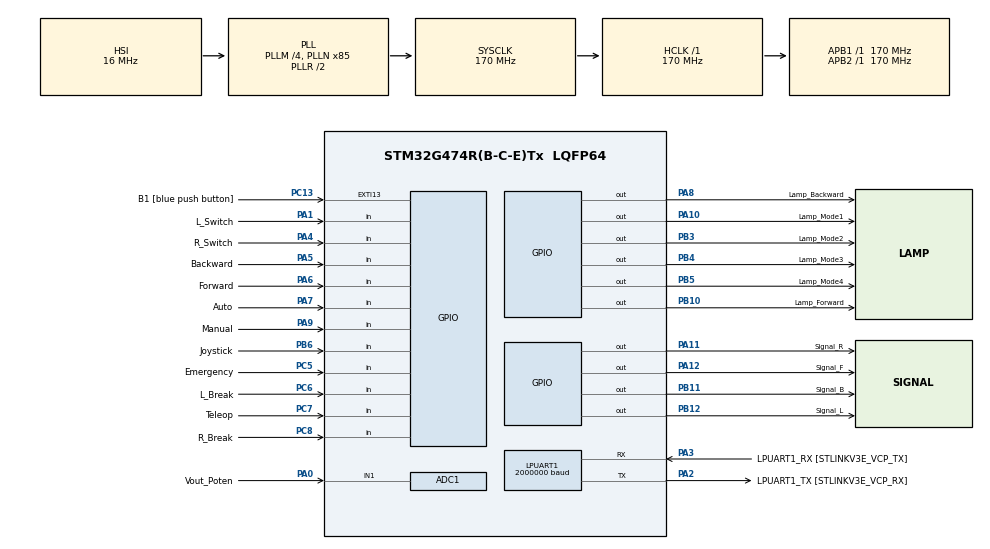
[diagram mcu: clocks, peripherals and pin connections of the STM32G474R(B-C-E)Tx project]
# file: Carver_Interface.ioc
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ADC1.Channel-0\#ChannelRegularConversion=ADC_CHANNEL_1
ADC1.ContinuousConvMode=DISABLE
ADC1.DMAContinuousRequests=ENABLE
ADC1.ExternalTrigConv=ADC_EXTERNALTRIG_T2_TRGO
ADC1.NbrOfConversion=1
ADC1.NbrOfConversionFlag=1
ADC1.OffsetNumber-0\#ChannelRegularConversion=ADC_OFFSET_NONE
ADC1.Rank-0\#ChannelRegularConversion=1
ADC1.SamplingTime-0\#ChannelRegularConversion=ADC_SAMPLETIME_640CYCLES_5
ADC1.master=1
Dma.ADC1.2.Direction=DMA_PERIPH_TO_MEMORY
Dma.ADC1.2.EventEnable=DISABLE
Dma.ADC1.2.Instance=DMA1_Channel3
Dma.ADC1.2.MemDataAlignment=DMA_MDATAALIGN_HALFWORD
Dma.ADC1.2.MemInc=DMA_MINC_ENABLE
Dma.ADC1.2.Mode=DMA_CIRCULAR
Dma.ADC1.2.PeriphDataAlignment=DMA_PDATAALIGN_HALFWORD
Dma.ADC1.2.PeriphInc=DMA_PINC_DISABLE
Dma.ADC1.2.Polarity=HAL_DMAMUX_REQ_GEN_RISING
Dma.ADC1.2.Priority=DMA_PRIORITY_LOW
Dma.ADC1.2.RequestNumber=1
Dma.ADC1.2.SignalID=NONE
Dma.ADC1.2.SyncEnable=DISABLE
Dma.ADC1.2.SyncPolarity=HAL_DMAMUX_SYNC_NO_EVENT
Dma.ADC1.2.SyncRequestNumber=1
Dma.ADC1.2.SyncSignalID=NONE
Dma.LPUART1_RX.1.Direction=DMA_PERIPH_TO_MEMORY
Dma.LPUART1_RX.1.EventEnable=DISABLE
Dma.LPUART1_RX.1.Instance=DMA1_Channel2
Dma.LPUART1_RX.1.MemDataAlignment=DMA_MDATAALIGN_BYTE
Dma.LPUART1_RX.1.MemInc=DMA_MINC_ENABLE
Dma.LPUART1_RX.1.Mode=DMA_CIRCULAR
Dma.LPUART1_RX.1.PeriphDataAlignment=DMA_PDATAALIGN_BYTE
Dma.LPUART1_RX.1.PeriphInc=DMA_PINC_DISABLE
Dma.LPUART1_RX.1.Polarity=HAL_DMAMUX_REQ_GEN_RISING
Dma.LPUART1_RX.1.Priority=DMA_PRIORITY_VERY_HIGH
Dma.LPUART1_RX.1.RequestNumber=1
Dma.LPUART1_RX.1.SignalID=NONE
Dma.LPUART1_RX.1.SyncEnable=DISABLE
Dma.LPUART1_RX.1.SyncPolarity=HAL_DMAMUX_SYNC_NO_EVENT
Dma.LPUART1_RX.1.SyncRequestNumber=1
Dma.LPUART1_RX.1.SyncSignalID=NONE
Dma.LPUART1_TX.0.Direction=DMA_MEMORY_TO_PERIPH
Dma.LPUART1_TX.0.EventEnable=DISABLE
Dma.LPUART1_TX.0.Instance=DMA1_Channel1
Dma.LPUART1_TX.0.MemDataAlignment=DMA_MDATAALIGN_BYTE
Dma.LPUART1_TX.0.MemInc=DMA_MINC_ENABLE
Dma.LPUART1_TX.0.Mode=DMA_NORMAL
Dma.LPUART1_TX.0.PeriphDataAlignment=DMA_PDATAALIGN_BYTE
Dma.LPUART1_TX.0.PeriphInc=DMA_PINC_DISABLE
Dma.LPUART1_TX.0.Polarity=HAL_DMAMUX_REQ_GEN_RISING
Dma.LPUART1_TX.0.Priority=DMA_PRIORITY_VERY_HIGH
Dma.LPUART1_TX.0.RequestNumber=1
Dma.LPUART1_TX.0.SignalID=NONE
Dma.LPUART1_TX.0.SyncEnable=DISABLE
Dma.LPUART1_TX.0.SyncPolarity=HAL_DMAMUX_SYNC_NO_EVENT
Dma.LPUART1_TX.0.SyncRequestNumber=1
Dma.LPUART1_TX.0.SyncSignalID=NONE
Dma.Request0=LPUART1_TX
Dma.Request1=LPUART1_RX
Dma.Request2=ADC1
FREERTOS.Tasks01=defaultTask,40,5000,StartDefaultTask,Default,NULL,Static,defaultTaskBuffer,defaultTaskControlBlock
IWDG.Reload=2499
LPUART1.BaudRate=2000000
Mcu.Family=STM32G4
Mcu.Name=STM32G474R(B-C-E)Tx
Mcu.Package=LQFP64
NVIC.ADC1_2_IRQn=true\:5\:0\:false\:false\:true\:true\:true\:true\:true
NVIC.DMA1_Channel1_IRQn=true\:5\:0\:false\:false\:true\:true\:false\:true\:true
NVIC.DMA1_Channel2_IRQn=true\:5\:0\:false\:false\:true\:true\:false\:true\:true
NVIC.DMA1_Channel3_IRQn=true\:5\:0\:false\:false\:true\:true\:false\:true\:true
NVIC.EXTI15_10_IRQn=true\:5\:0\:false\:false\:true\:true\:true\:true\:true
NVIC.LPUART1_IRQn=true\:5\:0\:false\:false\:true\:true\:true\:true\:true
NVIC.PriorityGroup=NVIC_PRIORITYGROUP_4
NVIC.TIM1_UP_TIM16_IRQn=true\:15\:0\:false\:false\:true\:false\:false\:true\:true
NVIC.TIM2_IRQn=true\:5\:0\:false\:false\:true\:true\:true\:true\:true
NVIC.TimeBase=TIM1_UP_TIM16_IRQn
NVIC.TimeBaseIP=TIM1
PA0.GPIO_Label=Vout_Poten
PA0.Mode=IN1-Single-Ended
PA0.Signal=ADC1_IN1
PA1.GPIO_Label=L_Switch
PA1.GPIO_PuPd=GPIO_PULLUP
PA1.Signal=GPIO_Input
PA10.GPIO_Label=Lamp_Mode1
PA10.GPIO_PuPd=GPIO_PULLDOWN
PA10.PinState=GPIO_PIN_SET
PA10.Signal=GPIO_Output
PA11.GPIO_Label=Signal_R
PA11.GPIO_ModeDefaultOutputPP=GPIO_MODE_OUTPUT_PP
PA11.GPIO_PuPd=GPIO_PULLDOWN
PA11.PinState=GPIO_PIN_SET
PA11.Signal=GPIO_Output
PA12.GPIO_Label=Signal_F
PA12.GPIO_PuPd=GPIO_PULLDOWN
PA12.PinState=GPIO_PIN_SET
PA12.Signal=GPIO_Output
PA13.GPIO_Label=T_SWDIO
PA13.Signal=SYS_JTMS-SWDIO
PA14.GPIO_Label=T_SWCLK
PA14.Signal=SYS_JTCK-SWCLK
PA2.GPIO_Label=LPUART1_TX [STLINKV3E_VCP_RX]
PA2.Mode=Asynchronous
PA2.Signal=LPUART1_TX
PA3.GPIO_Label=LPUART1_RX [STLINKV3E_VCP_TX]
PA3.Mode=Asynchronous
PA3.Signal=LPUART1_RX
PA4.GPIO_Label=R_Switch
PA4.GPIO_PuPd=GPIO_PULLUP
PA4.Signal=GPIO_Input
PA5.GPIO_Label=Backward
PA5.GPIO_PuPd=GPIO_PULLDOWN
PA5.Signal=GPIO_Input
PA6.GPIO_Label=Forward
PA6.GPIO_PuPd=GPIO_PULLDOWN
PA6.Signal=GPIO_Input
PA7.GPIO_Label=Auto
PA7.GPIO_PuPd=GPIO_PULLDOWN
PA7.Signal=GPIO_Input
PA8.GPIO_Label=Lamp_Backward
PA8.GPIO_PuPd=GPIO_PULLDOWN
PA8.Signal=GPIO_Output
PA9.GPIO_Label=Manual
PA9.GPIO_PuPd=GPIO_PULLDOWN
PA9.Signal=GPIO_Input
PB10.GPIO_Label=Lamp_Forward
PB10.GPIO_PuPd=GPIO_PULLDOWN
PB10.Signal=GPIO_Output
PB11.GPIO_Label=Signal_B
PB11.GPIO_PuPd=GPIO_PULLDOWN
PB11.PinState=GPIO_PIN_SET
PB11.Signal=GPIO_Output
PB12.GPIO_Label=Signal_L
PB12.GPIO_PuPd=GPIO_PULLDOWN
PB12.PinState=GPIO_PIN_SET
PB12.Signal=GPIO_Output
PB3.GPIO_Label=Lamp_Mode2
PB3.GPIO_ModeDefaultOutputPP=GPIO_MODE_OUTPUT_PP
PB3.GPIO_PuPd=GPIO_PULLDOWN
PB3.PinState=GPIO_PIN_SET
PB3.Signal=GPIO_Output
PB4.GPIO_Label=Lamp_Mode3
PB4.GPIO_PuPd=GPIO_PULLDOWN
PB4.Signal=GPIO_Output
PB5.GPIO_Label=Lamp_Mode4
PB5.GPIO_PuPd=GPIO_PULLDOWN
PB5.PinState=GPIO_PIN_SET
PB5.Signal=GPIO_Output
PB6.GPIO_Label=Joystick
PB6.GPIO_PuPd=GPIO_PULLDOWN
PB6.Signal=GPIO_Input
PC13.GPIO_Label=B1 [blue push button]
PC13.Signal=GPXTI13
PC14-OSC32_IN.GPIO_Label=RCC_OSC32_IN
PC14-OSC32_IN.Mode=LSE-External-Oscillator
PC14-OSC32_IN.Signal=RCC_OSC32_IN
PC15-OSC32_OUT.Mode=LSE-External-Oscillator
PC15-OSC32_OUT.Signal=RCC_OSC32_OUT
PC5.GPIO_Label=Emergency
PC5.Signal=GPIO_Input
PC6.GPIO_Label=L_Break
PC6.GPIO_PuPd=GPIO_PULLUP
PC6.Signal=GPIO_Input
PC7.GPIO_Label=Teleop
PC7.GPIO_PuPd=GPIO_PULLDOWN
PC7.Signal=GPIO_Input
PC8.GPIO_Label=R_Break
PC8.GPIO_PuPd=GPIO_PULLUP
PC8.Signal=GPIO_Input
PF0-OSC_IN.Mode=HSE-External-Oscillator
PF0-OSC_IN.Signal=RCC_OSC_IN
PF1-OSC_OUT.GPIO_Label=RCC_OSC_OUT
PF1-OSC_OUT.Mode=HSE-External-Oscillator
PF1-OSC_OUT.Signal=RCC_OSC_OUT
ProjectManager.HeapSize=0x200
ProjectManager.StackSize=0x400
ProjectManager.TargetToolchain=STM32CubeIDE
RCC.ADC12Freq_Value=170000000
RCC.ADC345Freq_Value=170000000
RCC.AHBFreq_Value=170000000
RCC.APB1Freq_Value=170000000
RCC.APB1TimFreq_Value=170000000
RCC.APB2Freq_Value=170000000
RCC.APB2TimFreq_Value=170000000
RCC.CortexFreq_Value=170000000
RCC.EXTERNAL_CLOCK_VALUE=12288000
RCC.HCLKFreq_Value=170000000
RCC.HSE_VALUE=24000000
RCC.HSI48_VALUE=48000000
RCC.HSI_VALUE=16000000
RCC.PLLM=RCC_PLLM_DIV4
RCC.PLLN=85
RCC.RTCClockSelection=RCC_RTCCLKSOURCE_LSE
RCC.SYSCLKFreq_VALUE=170000000
RCC.SYSCLKSource=RCC_SYSCLKSOURCE_PLLCLK
RCC.USBFreq_Value=170000000
RCC.VCOOutputFreq_Value=340000000
TIM2.PeriodNoDither=999
TIM2.Prescaler=169
TIM2.TIM_MasterOutputTrigger=TIM_TRGO_UPDATE
VP_FREERTOS_VS_CMSIS_V2.Mode=CMSIS_V2
VP_IWDG_VS_IWDG.Mode=IWDG_Activate
VP_SYS_VS_DBSignals.Mode=DisableDeadBatterySignals
VP_SYS_VS_tim1.Mode=TIM1
VP_TIM2_VS_ClockSourceINT.Mode=Internal
board=NUCLEO-G474RE

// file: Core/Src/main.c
/* USER CODE BEGIN Header */
/**
  ******************************************************************************
  * @file           : main.c
  * @brief          : Main program body
  ******************************************************************************
  * @attention
  *
  * Copyright (c) 2024 STMicroelectronics.
  * All rights reserved.
  *
  * This software is licensed under terms that can be found in the LICENSE file
  * in the root directory of this software component.
  * If no LICENSE file comes with this software, it is provided AS-IS.
  *
  ******************************************************************************
  */
/* USER CODE END Header */
#include "main.h"
#include "cmsis_os.h"
#include "adc.h"
#include "dma.h"
#include "iwdg.h"
#include "usart.h"
#include "tim.h"
#include "gpio.h"

/* USER CODE BEGIN PV */
//uint8_t pinState = 0;
//uint8_t pinState1 = 0;
//uint8_t pinState2 = 0;
//uint8_t pinState3 = 0;
//uint8_t pinState4 = 0;
uint8_t test = 0;
/* USER CODE END PV */

void SystemClock_Config(void);
void MX_FREERTOS_Init(void);

int main(void)
{

  /* MCU Configuration--------------------------------------------------------*/

  /* Reset of all peripherals, Initializes the Flash interface and the Systick. */
  HAL_Init();

  /* Configure the system clock */
  SystemClock_Config();

  /* Initialize all configured peripherals */
  MX_GPIO_Init();
  MX_DMA_Init();
  MX_LPUART1_UART_Init();
  MX_ADC1_Init();
  MX_IWDG_Init();
  MX_TIM2_Init();
  /* USER CODE BEGIN 2 */

  HAL_TIM_Base_Start_IT(&htim2);
  /* USER CODE END 2 */

  /* Init scheduler */
  osKernelInitialize();

  /* Call init function for freertos objects (in cmsis_os2.c) */
  MX_FREERTOS_Init();

  /* Start scheduler */
  osKernelStart();

  /* We should never get here as control is now taken by the scheduler */

  /* Infinite loop */
  while (1)
  {

  }
}

void SystemClock_Config(void)
{
  RCC_OscInitTypeDef RCC_OscInitStruct = {0};
  RCC_ClkInitTypeDef RCC_ClkInitStruct = {0};

  /** Configure the main internal regulator output voltage
  */
  HAL_PWREx_ControlVoltageScaling(PWR_REGULATOR_VOLTAGE_SCALE1_BOOST);

  /** Initializes the RCC Oscillators according to the specified parameters
  * in the RCC_OscInitTypeDef structure.
  */
  RCC_OscInitStruct.OscillatorType = RCC_OSCILLATORTYPE_HSI|RCC_OSCILLATORTYPE_LSI;
  RCC_OscInitStruct.HSIState = RCC_HSI_ON;
  RCC_OscInitStruct.HSICalibrationValue = RCC_HSICALIBRATION_DEFAULT;
  RCC_OscInitStruct.LSIState = RCC_LSI_ON;
  RCC_OscInitStruct.PLL.PLLState = RCC_PLL_ON;
  RCC_OscInitStruct.PLL.PLLSource = RCC_PLLSOURCE_HSI;
  RCC_OscInitStruct.PLL.PLLM = RCC_PLLM_DIV4;
  RCC_OscInitStruct.PLL.PLLN = 85;
  RCC_OscInitStruct.PLL.PLLP = RCC_PLLP_DIV2;
  RCC_OscInitStruct.PLL.PLLQ = RCC_PLLQ_DIV2;
  RCC_OscInitStruct.PLL.PLLR = RCC_PLLR_DIV2;
  if (HAL_RCC_OscConfig(&RCC_OscInitStruct) != HAL_OK)
  {
    Error_Handler();
  }

  /** Initializes the CPU, AHB and APB buses clocks
  */
  RCC_ClkInitStruct.ClockType = RCC_CLOCKTYPE_HCLK|RCC_CLOCKTYPE_SYSCLK
                              |RCC_CLOCKTYPE_PCLK1|RCC_CLOCKTYPE_PCLK2;
  RCC_ClkInitStruct.SYSCLKSource = RCC_SYSCLKSOURCE_PLLCLK;
  RCC_ClkInitStruct.AHBCLKDivider = RCC_SYSCLK_DIV1;
  RCC_ClkInitStruct.APB1CLKDivider = RCC_HCLK_DIV1;
  RCC_ClkInitStruct.APB2CLKDivider = RCC_HCLK_DIV1;

  if (HAL_RCC_ClockConfig(&RCC_ClkInitStruct, FLASH_LATENCY_4) != HAL_OK)
  {
    Error_Handler();
  }
}

void HAL_TIM_PeriodElapsedCallback(TIM_HandleTypeDef *htim)
{
  if (htim->Instance == TIM1) {
    HAL_IncTick();
  }
  /* USER CODE BEGIN Callback 1 */
  if (htim->Instance == TIM2) {
	  test +=1;
  }
  /* USER CODE END Callback 1 */
}

void Error_Handler(void)
{
  __disable_irq();
  while (1)
  {
  }
}

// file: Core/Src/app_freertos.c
/* USER CODE BEGIN Header */
/**
  ******************************************************************************
  * File Name          : app_freertos.c
  * Description        : Code for freertos applications
  ******************************************************************************
  * @attention
  *
  * Copyright (c) 2024 STMicroelectronics.
  * All rights reserved.
  *
  * This software is licensed under terms that can be found in the LICENSE file
  * in the root directory of this software component.
  * If no LICENSE file comes with this software, it is provided AS-IS.
  *
  ******************************************************************************
  */
/* USER CODE END Header */

#include "FreeRTOS.h"
#include "task.h"
#include "main.h"
#include "cmsis_os.h"

/* USER CODE BEGIN Includes */

#include "adc.h"
#include "dma.h"
#include "iwdg.h"
#include "usart.h"
#include "gpio.h"

#include <rcl/rcl.h>
#include <rcl/error_handling.h>
#include <rclc/rclc.h>
#include <rclc/executor.h>
#include <uxr/client/transport.h>
#include <rmw_microxrcedds_c/config.h>
#include <rmw_microros/rmw_microros.h>

#include <micro_ros_utilities/string_utilities.h>
#include <std_msgs/msg/float32.h>
#include <std_msgs/msg/float32_multi_array.h>
#include <std_msgs/msg/float64_multi_array.h>

#include <std_msgs/msg/u_int16.h>
#include <std_msgs/msg/int8.h>
#include <std_msgs/msg/bool.h>
/* USER CODE END Includes */

typedef StaticTask_t osStaticThreadDef_t;
/* USER CODE BEGIN PTD */
typedef enum{
	MANUAL,
	TELEOP,
	AUTO,
	JOYSTICK,
	DEBOUNCE
}MODE;

typedef enum{
	FORWARD,
	BACKWARD,
}DIRECTION;
/* USER CODE END PTD */

/* USER CODE BEGIN PD */
#define BUFFER_SIZE 40
#define RCSOFTCHECK(fn) if (fn != RCL_RET_OK) {};
/* USER CODE END PD */

/* USER CODE BEGIN Variables */
rcl_node_t node;

rcl_publisher_t xrl8_publisher;
std_msgs__msg__UInt16 XRL8_msg;

rcl_publisher_t emer_publisher;
std_msgs__msg__Bool emer_msg;

rcl_publisher_t direction_publisher;
std_msgs__msg__Int8 dir_msg;

rcl_publisher_t mode_publisher;
std_msgs__msg__Int8 mode_msg;

rcl_subscription_t light_signal_subscriber;
std_msgs__msg__Int8 light_signal_msg;
uint8_t auto_light_signal = 0;  // 0=none, 1=right, 2=left, 3=brake, 4=right+brake, 5=left+brake

uint8_t sync_counter = 0;

uint8_t Manual_mode = 0; // Manual
uint8_t Teleop_mode = 0; // Teleop
uint8_t Auto_mode = 0; // Auto
uint8_t Joystick_mode = 0; // Joystick
uint8_t forward = 0;
uint8_t backward = 0;
uint8_t l_switch = 0;
uint8_t r_switch = 0;
uint8_t l_break = 0;
uint8_t r_break = 0;

uint8_t cmd_mode1 = 0;
uint8_t cmd_mode2 = 0;
uint8_t cmd_mode3 = 0;
uint8_t cmd_mode4 = 0;
uint8_t cmd_forward = 0;
uint8_t cmd_backward = 0;
uint8_t cmd_front_light = 0;
uint8_t cmd_brake_light = 0;
uint8_t cmd_left_signal_light = 0;
uint8_t cmd_right_signal_light = 0;

MODE mode = MANUAL;
DIRECTION manual_direction = FORWARD;
float accelerator = 0.0;
GPIO_PinState emer = 0;

uint16_t adc_buffer[BUFFER_SIZE];
/* USER CODE END Variables */
/* Definitions for defaultTask */
osThreadId_t defaultTaskHandle;
uint32_t defaultTaskBuffer[ 5000 ];
osStaticThreadDef_t defaultTaskControlBlock;
const osThreadAttr_t defaultTask_attributes = {
  .name = "defaultTask",
  .stack_mem = &defaultTaskBuffer[0],
  .stack_size = sizeof(defaultTaskBuffer),
  .cb_mem = &defaultTaskControlBlock,
  .cb_size = sizeof(defaultTaskControlBlock),
  .priority = (osPriority_t) osPriorityHigh,
};

/* USER CODE BEGIN FunctionPrototypes */
bool cubemx_transport_open(struct uxrCustomTransport * transport);
bool cubemx_transport_close(struct uxrCustomTransport * transport);
size_t cubemx_transport_write(struct uxrCustomTransport* transport, const uint8_t * buf, size_t len, uint8_t * err);
size_t cubemx_transport_read(struct uxrCustomTransport* transport, uint8_t* buf, size_t len, int timeout, uint8_t* err);

void * microros_allocate(size_t size, void * state);
void microros_deallocate(void * pointer, void * state);
void * microros_reallocate(void * pointer, size_t size, void * state);
void * microros_zero_allocate(size_t number_of_elements, size_t size_of_element, void * state);

void timer_callback(rcl_timer_t * timer, int64_t last_call_time);
void light_signal_callback(const void * msgin);
uint16_t calculate_average(uint16_t *buffer, uint16_t length);
void xlr8_publish(uint16_t xlr8);
void emergency_publish(GPIO_PinState emer_state);
void accel_direction_publish(int8_t dir);
void mode_publish(MODE current_mode);
void interfaces_status();
void mode_cycle();
void mode_light_indicator();

void left_turn(uint16_t _t);
void right_turn(uint16_t _t);
void harzard(uint16_t _t);
/* USER CODE END FunctionPrototypes */

void StartDefaultTask(void *argument);

void MX_FREERTOS_Init(void); /* (MISRA C 2004 rule 8.1) */

void MX_FREERTOS_Init(void) {
  /* USER CODE BEGIN Init */
	HAL_ADC_Start_DMA(&hadc1, (uint32_t*)adc_buffer, BUFFER_SIZE);
  /* USER CODE END Init */

  /* Create the thread(s) */
  /* creation of defaultTask */
  defaultTaskHandle = osThreadNew(StartDefaultTask, NULL, &defaultTask_attributes);

}

void StartDefaultTask(void *argument)
{
  /* USER CODE BEGIN StartDefaultTask */

	// micro-ROS configuration
	rmw_uros_set_custom_transport(
	true,
	(void *) &hlpuart1,
	cubemx_transport_open,
	cubemx_transport_close,
	cubemx_transport_write,
	cubemx_transport_read);

	rcl_allocator_t freeRTOS_allocator = rcutils_get_zero_initialized_allocator();
	freeRTOS_allocator.allocate = microros_allocate;
	freeRTOS_allocator.deallocate = microros_deallocate;
	freeRTOS_allocator.reallocate = microros_reallocate;
	freeRTOS_allocator.zero_allocate =  microros_zero_allocate;

	if (!rcutils_set_default_allocator(&freeRTOS_allocator)) {
	  printf("Error on default allocators (line %d)\n", __LINE__);
	}

	// micro-ROS app
	rcl_timer_t XLR8_timer;
	rclc_support_t support;
	rclc_executor_t executor;
	rcl_allocator_t allocator;
	rcl_init_options_t init_options;

	const unsigned int timer_period = RCL_MS_TO_NS(8);
	const int timeout_ms = 1000;
    int executor_num = 2;

	const rosidl_message_type_support_t * uint16_type_support =
	  ROSIDL_GET_MSG_TYPE_SUPPORT(std_msgs, msg, UInt16);

	const rosidl_message_type_support_t * bool_type_support =
	  ROSIDL_GET_MSG_TYPE_SUPPORT(std_msgs, msg, Bool);

	const rosidl_message_type_support_t * int8_type_support =
	  ROSIDL_GET_MSG_TYPE_SUPPORT(std_msgs, msg, Int8);

	allocator = rcl_get_default_allocator();

	executor = rclc_executor_get_zero_initialized_executor();

	init_options = rcl_get_zero_initialized_init_options();

	RCSOFTCHECK(rcl_init_options_init(&init_options, allocator));
	RCSOFTCHECK(rcl_init_options_set_domain_id(&init_options, 127));

	// create support init_options
	rclc_support_init_with_options(&support, 0, NULL, &init_options, &allocator);

	// create timer
	rclc_timer_init_default(&XLR8_timer, &support, timer_period, timer_callback);

	// create node
	rclc_node_init_default(&node, "uros_carver_interface_node", "", &support);

	// create publisher
	rclc_publisher_init_default(&xrl8_publisher, &node, uint16_type_support, "accl_publisher");
	rclc_publisher_init_default(&emer_publisher, &node, bool_type_support, "carver_emergency");
	rclc_publisher_init_default(&direction_publisher, &node, int8_type_support, "accel_direction");
	rclc_publisher_init_default(&mode_publisher, &node, int8_type_support, "carver_mode");

	// create subscriber
	rclc_subscription_init_default(&light_signal_subscriber, &node, int8_type_support, "light_signal_command");

	// create service server

	// create service client

 	// create executor
	rclc_executor_init(&executor, &support.context, executor_num, &allocator);

	rclc_executor_add_timer(&executor, &XLR8_timer);
	rclc_executor_add_subscription(&executor, &light_signal_subscriber, &light_signal_msg, &light_signal_callback, ON_NEW_DATA);

	rclc_executor_spin(&executor);
	rmw_uros_sync_session(timeout_ms);

//	for(;;)
//	{
//	//	osDelay(10);
//	}
  /* USER CODE END StartDefaultTask */
}

/* USER CODE BEGIN Application */
void timer_callback(rcl_timer_t * timer, int64_t last_call_time)
{
	static MODE previous_mode = MANUAL;  // Track previous mode

	if (timer != NULL) {

		if (sync_counter++ >= 254) {
			rmw_uros_sync_session(1000);
			sync_counter = 0;
		}

		interfaces_status();
		emergency_publish(emer);

		mode_cycle();

		// Detect mode change and reset lights when switching modes
		if(previous_mode != mode){
			cmd_left_signal_light = RESET;
			cmd_right_signal_light = RESET;
			cmd_brake_light = RESET;
			auto_light_signal = 0;
			previous_mode = mode;
		}

		mode_light_indicator();
		mode_publish(mode);

		cmd_front_light = SET;  // Always turn on front light

		if(mode == MANUAL){
			accelerator = calculate_average(adc_buffer, BUFFER_SIZE);
			xlr8_publish(accelerator);

			if(manual_direction == FORWARD){
				cmd_forward = SET;
				cmd_backward = RESET;

				if(l_switch == RESET){
					left_turn(100);
				}

				if(r_switch == RESET){
					right_turn(100);
				}

				if(l_switch == SET && r_switch == SET){
					cmd_left_signal_light = RESET;
					cmd_right_signal_light = RESET;
				}

				if(l_break == RESET){
					cmd_brake_light = SET;
				}
				else{
					cmd_brake_light = RESET;
				}

				accel_direction_publish(1);
			}
			else if(manual_direction == BACKWARD){
				cmd_forward = RESET;
				cmd_backward = SET;
				cmd_brake_light = SET;

				harzard(200);

				accel_direction_publish(-1);
			}
		}
		else if(mode == AUTO){
			// Handle light signals in AUTO mode
			switch(auto_light_signal){
				case 0:  // None
					cmd_left_signal_light = RESET;
					cmd_right_signal_light = RESET;
					cmd_brake_light = RESET;
					break;

				case 1:  // Right only
					right_turn(100);
					cmd_brake_light = RESET;
					break;

				case 2:  // Left only
					left_turn(100);
					cmd_brake_light = RESET;
					break;

				case 3:  // Brake only
					cmd_left_signal_light = RESET;
					cmd_right_signal_light = RESET;
					cmd_brake_light = SET;
					break;

				case 4:  // Right + Brake
					right_turn(100);
					cmd_brake_light = SET;
					break;

				case 5:  // Left + Brake
					left_turn(100);
					cmd_brake_light = SET;
					break;

				default:  // Invalid, turn all off
					cmd_left_signal_light = RESET;
					cmd_right_signal_light = RESET;
					cmd_brake_light = RESET;
					break;
			}
		}
		else{
			// Other modes (TELEOP, JOYSTICK): turn off all signal lights
			cmd_left_signal_light = RESET;
			cmd_right_signal_light = RESET;
			cmd_brake_light = RESET;
		}

		HAL_IWDG_Refresh(&hiwdg);
	}
}

void light_signal_callback(const void * msgin)
{
	const std_msgs__msg__Int8 * msg = (const std_msgs__msg__Int8 *)msgin;
	auto_light_signal = msg->data;
}

void xlr8_publish(uint16_t xlr8)
{
	XRL8_msg.data = xlr8;
	rcl_ret_t ret = rcl_publish(&xrl8_publisher, &XRL8_msg, NULL);
	if (ret != RCL_RET_OK) printf("Error publishing (line %d)\n", __LINE__);
}

void emergency_publish(GPIO_PinState emer_state)
{
	emer_msg.data = !emer_state;
	rcl_ret_t ret = rcl_publish(&emer_publisher, &emer_msg, NULL);
	if (ret != RCL_RET_OK) printf("Error publishing (line %d)\n", __LINE__);
}

void accel_direction_publish(int8_t dir)
{
	dir_msg.data = dir;
	RCSOFTCHECK(rcl_publish(&direction_publisher, &dir_msg, NULL));
}

void mode_publish(MODE current_mode)
{
	mode_msg.data = (int8_t)current_mode;
	RCSOFTCHECK(rcl_publish(&mode_publisher, &mode_msg, NULL));
}

uint16_t calculate_average(uint16_t *buffer, uint16_t length) {
    uint32_t sum = 0;
    for (uint16_t i = 0; i < length; i++) {
        sum += buffer[i];
    }
    return (uint16_t)(sum / length);
}

void interfaces_status(){

	emer = HAL_GPIO_ReadPin(Emergency_GPIO_Port, Emergency_Pin);

	Manual_mode = HAL_GPIO_ReadPin(Manual_GPIO_Port, Manual_Pin);
	Teleop_mode = HAL_GPIO_ReadPin(Teleop_GPIO_Port, Teleop_Pin);
	Auto_mode = HAL_GPIO_ReadPin(Auto_GPIO_Port, Auto_Pin);
	Joystick_mode = HAL_GPIO_ReadPin(Joystick_GPIO_Port, Joystick_Pin);
	forward = HAL_GPIO_ReadPin(Forward_GPIO_Port, Forward_Pin);
	backward = HAL_GPIO_ReadPin(Backward_GPIO_Port, Backward_Pin);
	l_switch = HAL_GPIO_ReadPin(L_Switch_GPIO_Port, L_Switch_Pin);
	r_switch = HAL_GPIO_ReadPin(R_Switch_GPIO_Port, R_Switch_Pin);
	l_break = HAL_GPIO_ReadPin(L_Break_GPIO_Port, L_Break_Pin);
	r_break = HAL_GPIO_ReadPin(R_Break_GPIO_Port, R_Break_Pin);

	HAL_GPIO_WritePin(Lamp_Mode1_GPIO_Port, Lamp_Mode1_Pin, cmd_mode1);
	HAL_GPIO_WritePin(Lamp_Mode2_GPIO_Port, Lamp_Mode2_Pin, cmd_mode2);
	HAL_GPIO_WritePin(Lamp_Mode3_GPIO_Port, Lamp_Mode3_Pin, cmd_mode3);
	HAL_GPIO_WritePin(Lamp_Mode4_GPIO_Port, Lamp_Mode4_Pin, cmd_mode4);

	HAL_GPIO_WritePin(Signal_F_GPIO_Port, Signal_F_Pin, cmd_front_light);
	HAL_GPIO_WritePin(Signal_B_GPIO_Port, Signal_B_Pin, cmd_brake_light);
	HAL_GPIO_WritePin(Signal_L_GPIO_Port, Signal_L_Pin, cmd_left_signal_light);
	HAL_GPIO_WritePin(Signal_R_GPIO_Port, Signal_R_Pin, cmd_right_signal_light);
}

void mode_cycle(){
	if(Manual_mode == 1){
		mode = MANUAL;
	}
	else if(Teleop_mode == 1){
		mode = TELEOP;
	}
	else if(Auto_mode == 1){
		mode = AUTO;
	}
	else if(Joystick_mode == 1){
		mode = JOYSTICK;
	}

	if(forward == 1){
		manual_direction = FORWARD;
	}
	else if(backward == 1){
		manual_direction = BACKWARD;
	}
}

void mode_light_indicator(){

	if(mode == MANUAL){
		cmd_mode1 = SET;
		cmd_mode2 = RESET;
		cmd_mode3 = RESET;
		cmd_mode4 = RESET;
	}
	else if(mode == TELEOP){
		cmd_mode2 = SET;
		cmd_mode1 = RESET;
		cmd_mode3 = RESET;
		cmd_mode4 = RESET;
	}
	else if(mode == AUTO){
		cmd_mode3 = SET;
		cmd_mode1 = RESET;
		cmd_mode2 = RESET;
		cmd_mode4 = RESET;
	}
	else if(mode == JOYSTICK){
		cmd_mode4 = SET;
		cmd_mode1 = RESET;
		cmd_mode2 = RESET;
		cmd_mode3 = RESET;
	}

	if(mode != MANUAL){
		cmd_forward = 0;
		cmd_backward = 0;
		manual_direction = FORWARD;
		accel_direction_publish(0);
	}

	HAL_GPIO_WritePin(Lamp_Mode1_GPIO_Port, Lamp_Mode1_Pin, cmd_mode1);
	HAL_GPIO_WritePin(Lamp_Mode2_GPIO_Port, Lamp_Mode2_Pin, cmd_mode2);
	HAL_GPIO_WritePin(Lamp_Mode3_GPIO_Port, Lamp_Mode3_Pin, cmd_mode3);
	HAL_GPIO_WritePin(Lamp_Mode4_GPIO_Port, Lamp_Mode4_Pin, cmd_mode4);
	HAL_GPIO_WritePin(Lamp_Forward_GPIO_Port, Lamp_Forward_Pin, cmd_forward);
	HAL_GPIO_WritePin(Lamp_Backward_GPIO_Port, Lamp_Backward_Pin, cmd_backward);

	HAL_GPIO_WritePin(Signal_F_GPIO_Port, Signal_F_Pin, cmd_front_light);
	HAL_GPIO_WritePin(Signal_B_GPIO_Port, Signal_B_Pin, cmd_brake_light);
	HAL_GPIO_WritePin(Signal_L_GPIO_Port, Signal_L_Pin, cmd_left_signal_light);
	HAL_GPIO_WritePin(Signal_R_GPIO_Port, Signal_R_Pin, cmd_right_signal_light);

}

void left_turn(uint16_t _t){
	if (uwTick % (_t*2) < _t) {
		cmd_left_signal_light = SET;
	} else {
		cmd_left_signal_light = RESET;
	}
}

void right_turn(uint16_t _t){
	if (uwTick % (_t*2) < _t) {
		cmd_right_signal_light = SET;
	} else {
		cmd_right_signal_light = RESET;
	}
}

void harzard(uint16_t _t){
	if (uwTick % (_t*2) < _t) {
	    cmd_left_signal_light = SET;
	    cmd_right_signal_light = SET;
	} else {
	    cmd_left_signal_light = RESET;
	    cmd_right_signal_light = RESET;
	}
}
/* USER CODE END Application */
